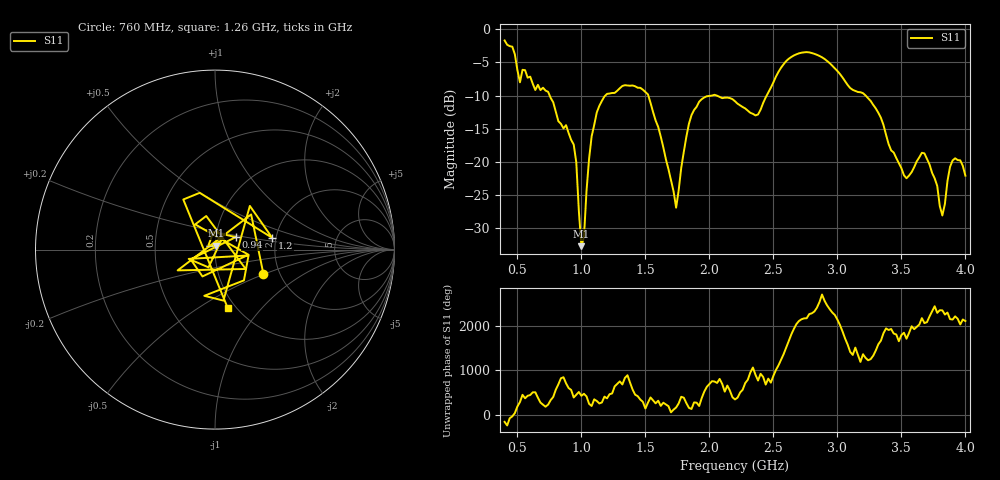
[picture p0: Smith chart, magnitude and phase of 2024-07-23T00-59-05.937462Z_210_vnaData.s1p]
!Created with skrf (http://scikit-rf.org).
# Hz S RI R 50.0
!freq ReS11 ImS11
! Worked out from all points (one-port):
!   181 points, 400 MHz to 4 GHz, reference 50 ohm
!   lowest |S11| = -32.7 dB at 1 GHz (marker M1), VSWR 1.05, Z = 50.8 + j2.19 ohm
!   |S11| at or under -10 dB: 752.1 MHz to 1.187 GHz (435 MHz wide, 44.9 % of centre); 1.523 GHz to 2.021 GHz (498.2 MHz wide, 28.1 % of centre); 3.22 GHz to end of sweep (the widest 3 of 4)
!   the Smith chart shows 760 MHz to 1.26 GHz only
!   S11 on the Smith chart (normalised r, x): 760 MHz: 1.65, -0.50; 940 MHz: 1.25, +0.18; 1.2 GHz: 1.91, +0.28; 1.26 GHz: 0.92, -0.67
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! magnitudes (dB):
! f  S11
! 400 MHz  -1.7
! 520 MHz  -8.0
! 560 MHz  -6.2
! 760 MHz  -10.4
! 860 MHz  -15.0
! 940 MHz  -17.4
! 960 MHz  -20.1
! 1 GHz  -32.7
! 1.02 GHz  -31.4
! 1.08 GHz  -16.2
! 1.2 GHz  -9.8
! 1.26 GHz  -9.6
! 1.3 GHz  -8.9
! 1.52 GHz  -9.8
! 1.74 GHz  -26.9
! 1.76 GHz  -24.3
! 1.84 GHz  -14.3
! 1.92 GHz  -10.9
! 2.2 GHz  -10.9
! 2.38 GHz  -12.9
! 2.66 GHz  -4.0
! 3.1 GHz  -8.9
! 3.3 GHz  -12.0
! 3.56 GHz  -22.1
! 3.68 GHz  -18.7
! 3.82 GHz  -28.1
! 3.9 GHz  -19.8
! 4 GHz  -22.1
